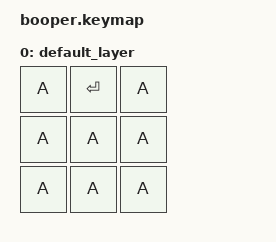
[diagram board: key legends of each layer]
#include <behaviors.dtsi>
#include <dt-bindings/zmk/keys.h>
#include <dt-bindings/zmk/bt.h>
#include <dt-bindings/zmk/keys.h>
#include <dt-bindings/zmk/ext_power.h>
#include <dt-bindings/zmk/rgb.h>

/{
    keymap {
        compatible = "zmk,keymap";
        default_layer {
            bindings = <
                &kp A   &kp RET   &kp A
                &kp A   &kp A   &kp A
                &kp A   &kp A   &kp A
            >;
        };
    };
};
